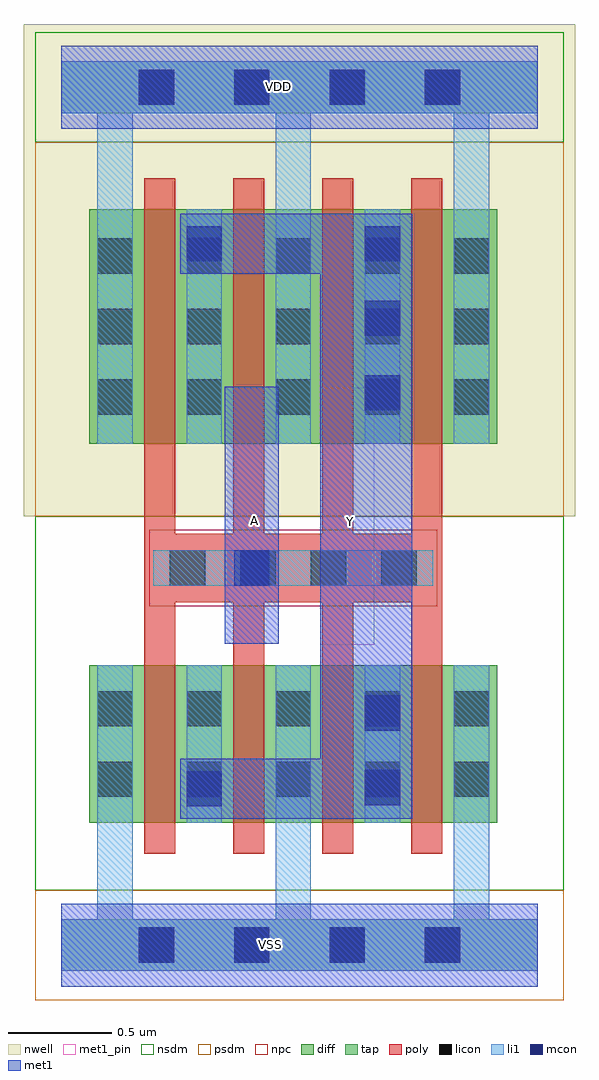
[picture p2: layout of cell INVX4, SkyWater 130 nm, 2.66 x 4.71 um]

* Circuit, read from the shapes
.subckt INVX4 A VDD VSS Y
XM1 Y A VSS VSS sky130_fd_pr__nfet_01v8 w=0.76 l=0.15 m=4
XM2 Y A VDD VDD sky130_fd_pr__pfet_01v8 w=1.13 l=0.15 m=4
.ends

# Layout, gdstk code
import gdstk
lib = gdstk.Library(unit=1e-6, precision=1e-09)
def R(c, l, rs):  # rectangles x0, y0, x1, y1
    for r in rs: c.add(gdstk.rectangle(r[:2], r[2:], *l))
def A(c, l, x, y, w, h, nx, ny, dx, dy):  # array of equal rectangles
    R(c, l, [(x+i*dx, y+j*dy, x+i*dx+w, y+j*dy+h) for i in range(nx) for j in range(ny)])
def P(c, l, *ps):  # polygons
    for p in ps: c.add(gdstk.Polygon(p, *l))
nwell = (64, 20)
diff = (65, 20)
tap = (65, 44)
poly = (66, 20)
licon = (66, 44)
li1 = (67, 20)
mcon = (67, 44)
met1_pin = (68, 16)
met1 = (68, 20)
nsdm = (93, 44)
psdm = (94, 20)
npc = (95, 20)

l1m1_c_cdns_751554744750 = lib.new_cell('L1M1_C_CDNS_751554744750')
R(l1m1_c_cdns_751554744750, li1, [(-0.165,-0.085,0.165,0.085)])
R(l1m1_c_cdns_751554744750, mcon, [(-0.085,-0.085,0.085,0.085)])
R(l1m1_c_cdns_751554744750, met1, [(-0.115,-0.145,0.115,0.145)])

l1m1_c_cdns_751554744757 = lib.new_cell('L1M1_C_CDNS_751554744757')
R(l1m1_c_cdns_751554744757, li1, [(-0.085,-0.525,0.085,0.525)])
A(l1m1_c_cdns_751554744757, mcon, -0.085, -0.445, 0.17, 0.17, 1, 3, 0, 0.36)
R(l1m1_c_cdns_751554744757, met1, [(-0.115,-0.505,0.115,0.505)])

pyl1con_c_cdns_751554744 = lib.new_cell('PYL1CON_C_CDNS_751554744751')
R(pyl1con_c_cdns_751554744, poly, [(-0.135,-0.165,0.135,0.165)])
R(pyl1con_c_cdns_751554744, licon, [(-0.085,-0.085,0.085,0.085)])
R(pyl1con_c_cdns_751554744, npc, [(-0.185,-0.185,0.185,0.185)])

l1m1_c_cdns_751554744753 = lib.new_cell('L1M1_C_CDNS_751554744753')
R(l1m1_c_cdns_751554744753, li1, [(-0.085,-0.165,0.085,0.165)])
R(l1m1_c_cdns_751554744753, mcon, [(-0.085,-0.085,0.085,0.085)])
R(l1m1_c_cdns_751554744753, met1, [(-0.115,-0.145,0.115,0.145)])

l1m1_c_cdns_751554744752 = lib.new_cell('L1M1_C_CDNS_751554744752')
R(l1m1_c_cdns_751554744752, li1, [(-0.085,-0.345,0.085,0.345)])
R(l1m1_c_cdns_751554744752, mcon, [(-0.085,-0.265,0.085,-0.095), (-0.085,0.095,0.085,0.265)])
R(l1m1_c_cdns_751554744752, met1, [(-0.115,-0.325,0.115,0.325)])

invx4 = lib.new_cell('INVX4')
R(invx4, nwell, [(-0.18,2.07,2.48,4.445)])
R(invx4, diff, [(0.135,0.59,2.105,1.35), (0.135,2.42,2.105,3.55)])
P(invx4, poly, [(1.84,3.7),(1.69,3.7),(1.69,1.985),(1.41,1.985),(1.41,3.7),(1.26,3.7),(1.26,1.985),(0.98,1.985),(0.98,3.7),(0.83,3.7),(0.83,1.985),(0.55,1.985),(0.55,3.7),(0.4,3.7),(0.4,0.44),(0.55,0.44),(0.55,1.655),(0.83,1.655),(0.83,0.44),(0.98,0.44),(0.98,1.655),(1.26,1.655),(1.26,0.44),(1.41,0.44),(1.41,1.655),(1.69,1.655),(1.69,0.44),(1.84,0.44)])
A(invx4, licon, 0.375, -0.085, 0.17, 0.17, 4, 2, 0.46, 4.14)
A(invx4, licon, 0.175, 0.715, 0.17, 0.17, 5, 2, 0.43, 0.34)
A(invx4, licon, 0.175, 2.56, 0.17, 0.17, 5, 3, 0.43, 0.34)
R(invx4, li1, [(0.605,0.59,0.775,1.35), (1.465,0.59,1.635,1.35), (0.605,2.42,0.775,3.55), (1.465,2.42,1.635,3.55)])
P(invx4, li1, [(2.3,4.265),(0,4.265),(0,4.015),(0.175,4.015),(0.175,2.42),(0.345,2.42),(0.345,4.015),(1.035,4.015),(1.035,2.42),(1.205,2.42),(1.205,4.015),(1.895,4.015),(1.895,2.42),(2.065,2.42),(2.065,4.015),(2.3,4.015)],
  [(2.3,0.125),(2.065,0.125),(2.065,1.35),(1.895,1.35),(1.895,0.125),(1.205,0.125),(1.205,1.35),(1.035,1.35),(1.035,0.125),(0.345,0.125),(0.345,1.35),(0.175,1.35),(0.175,0.125),(0,0.125),(0,-0.125),(2.3,-0.125)])
A(invx4, mcon, 0.375, -0.085, 0.17, 0.17, 4, 2, 0.46, 4.14)
R(invx4, met1_pin, [(1.25,1.45,1.51,2.69), (0.79,1.455,1.05,2.695)])
P(invx4, met1, [(1.695,3.53),(0.69,3.53),(0.69,3.24),(1.25,3.24),(1.25,0.9),(0.69,0.9),(0.69,0.61),(1.695,0.61)])
R(invx4, nsdm, [(-0.125,0.265,2.425,2.07), (-0.125,3.875,2.425,4.405)])
R(invx4, psdm, [(-0.125,-0.265,2.425,0.265), (-0.125,2.07,2.425,3.875)])
R(invx4, npc, [(0.425,1.635,1.815,2.005)])
invx4.add(gdstk.FlexPath([(0.445,1.82),(1.795,1.82)], 0.17, ends="flush", simple_path=True, layer=67, datatype=20))  # li1
invx4.add(gdstk.FlexPath([(0,0),(2.3,0)], 0.4, ends="flush", simple_path=True, layer=68, datatype=20))  # met1
invx4.add(gdstk.FlexPath([(0,4.14),(2.3,4.14)], 0.4, ends="flush", simple_path=True, layer=68, datatype=20))  # met1
invx4.add(gdstk.FlexPath([(0.92,1.455),(0.92,2.695)], 0.26, ends="flush", simple_path=True, layer=68, datatype=20))  # met1
invx4.add(gdstk.FlexPath([(0,4.14),(2.3,4.14)], 0.4, ends="flush", simple_path=True, layer=68, datatype=16))  # met1_pin
invx4.add(gdstk.FlexPath([(0,0),(2.3,0)], 0.4, ends="flush", simple_path=True, layer=68, datatype=16))  # met1_pin
invx4.add(gdstk.FlexPath([(0,4.14),(2.3,4.14)], 0.25, ends="flush", simple_path=True, layer=65, datatype=44))  # tap
invx4.add(gdstk.FlexPath([(0,0),(2.3,0)], 0.25, ends="flush", simple_path=True, layer=65, datatype=44))  # tap
invx4.add(gdstk.Reference(l1m1_c_cdns_751554744750, (0.92,1.82), x_reflection=True))
invx4.add(gdstk.Reference(l1m1_c_cdns_751554744757, (1.55,3.025)))
invx4.add(gdstk.Reference(pyl1con_c_cdns_751554744, (1.63,1.82)))
invx4.add(gdstk.Reference(pyl1con_c_cdns_751554744, (1.29,1.82)))
invx4.add(gdstk.Reference(pyl1con_c_cdns_751554744, (0.95,1.82)))
invx4.add(gdstk.Reference(pyl1con_c_cdns_751554744, (0.61,1.82)))
invx4.add(gdstk.Reference(l1m1_c_cdns_751554744753, (0.69,3.385)))
invx4.add(gdstk.Reference(l1m1_c_cdns_751554744753, (0.69,0.755)))
invx4.add(gdstk.Reference(l1m1_c_cdns_751554744752, (1.55,0.94)))
invx4.add(gdstk.Label('VDD', (1.05,4.145), layer=68, texttype=5))
invx4.add(gdstk.Label('A', (0.935,2.05), layer=68, texttype=5))
invx4.add(gdstk.Label('Y', (1.395,2.045), layer=68, texttype=5))
invx4.add(gdstk.Label('VSS', (1.01,0.005), layer=68, texttype=5))

lib.write_gds('INVX4.gds')
